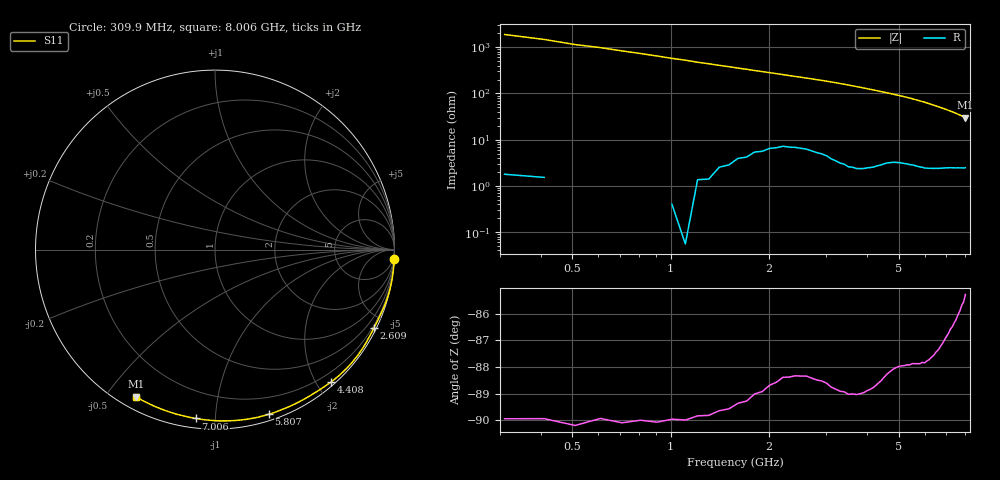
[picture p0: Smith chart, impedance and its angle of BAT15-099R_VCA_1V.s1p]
! Infineon Technologies  Discrete & RF Semiconductors
! BAT15-099R
! VCA = 1 V
! One-Port S-Parameters
# Hz  S  MA  R  50
!f  S11
!Hz  Mag  Ang
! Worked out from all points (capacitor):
!   78 points, 309.9 MHz to 8.006 GHz, reference 50 ohm
!   read as one part to ground: C = 272 fF near 309.9 MHz
!   lowest |Z| = 29.9 ohm at 8.006 GHz (marker M1)
!   S11 on the Smith chart (normalised r, x): 309.9 MHz: 0, -38; 2.609 GHz: 0.12, -4.29; 4.408 GHz: 0.06, -2.20; 5.807 GHz: 0.05, -1.38; 7.006 GHz: 0.05, -0.89; 8.006 GHz: 0.05, -0.60
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3.0985e8  1 -3.0
4.098e8  0.9999 -3.9
5.0975e8  1 -5.0
9.0955e8  1 -8.9
1.30935e9  0.9993 -13.0
1.70915e9  0.9963 -17.1
2.30885e9  0.9889 -23.2
2.6087e9  0.9873 -26.2
3.2084e9  0.9891 -32.7
3.50825e9  0.99 -36.5
3.70815e9  0.9894 -39.1
4.2079e9  0.9844 -46.0
4.4078e9  0.9808 -48.9
4.8076e9  0.9729 -54.8
5.2074e9  0.9691 -61.1
5.50725e9  0.9666 -66.3
5.8071e9  0.9654 -71.8
6.007e9  0.9642 -75.6
6.10695e9  0.9626 -77.7
6.4068e9  0.9584 -83.9
6.6067e9  0.955 -88.1
6.8066e9  0.9509 -92.3
7.0065e9  0.9468 -96.5
7.10645e9  0.9451 -98.6
7.30635e9  0.9417 -102.9
7.50625e9  0.9386 -107.2
7.70615e9  0.9354 -111.7
8.006e9  0.9298 -118.2
